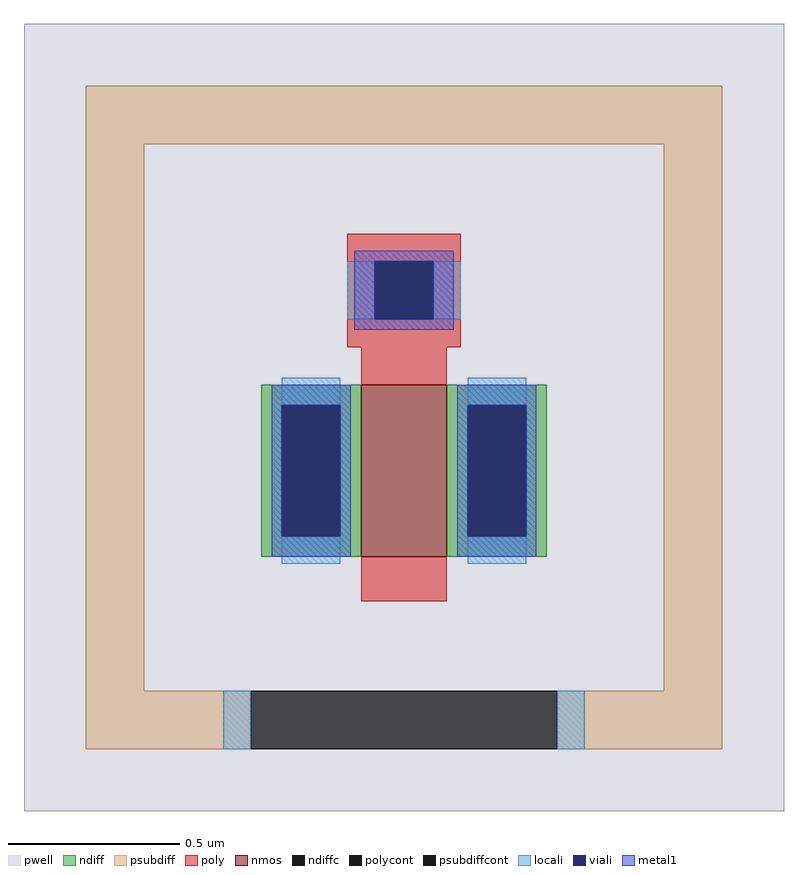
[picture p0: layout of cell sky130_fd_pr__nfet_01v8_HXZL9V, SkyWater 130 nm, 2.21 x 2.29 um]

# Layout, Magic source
magic
tech sky130A
magscale 1 2
<< pwell >>
rect -221 -229 221 229
<< nmos >>
rect -25 -81 25 19
<< ndiff >>
rect -83 7 -25 19
rect -83 -69 -71 7
rect -37 -69 -25 7
rect -83 -81 -25 -69
rect 25 7 83 19
rect 25 -69 37 7
rect 71 -69 83 7
rect 25 -81 83 -69
<< ndiffc >>
rect -71 -69 -37 7
rect 37 -69 71 7
<< psubdiff >>
rect -185 159 185 193
rect -185 -159 -151 159
rect 151 -159 185 159
rect -185 -193 -89 -159
rect 89 -193 185 -159
<< psubdiffcont >>
rect -89 -193 89 -159
<< poly >>
rect -33 91 33 107
rect -33 57 -17 91
rect 17 57 33 91
rect -33 41 33 57
rect -25 19 25 41
rect -25 -107 25 -81
<< polycont >>
rect -17 57 17 91
<< locali >>
rect -33 57 -17 91
rect 17 57 33 91
rect -71 7 -37 23
rect -71 -85 -37 -69
rect 37 7 71 23
rect 37 -85 71 -69
rect -105 -193 -89 -159
rect 89 -193 105 -159
<< viali >>
rect -17 57 17 91
rect -71 -69 -37 7
rect 37 -69 71 7
<< metal1 >>
rect -29 91 29 97
rect -29 57 -17 91
rect 17 57 29 91
rect -29 51 29 57
rect -77 7 -31 19
rect -77 -69 -71 7
rect -37 -69 -31 7
rect -77 -81 -31 -69
rect 31 7 77 19
rect 31 -69 37 7
rect 71 -69 77 7
rect 31 -81 77 -69
<< properties >>
string FIXED_BBOX -168 -176 168 176
string gencell sky130_fd_pr__nfet_01v8
string library sky130
string parameters w 0.5 l 0.25 m 1 nf 1 diffcov 100 polycov 100 guard 1 glc 0 grc 0 gtc 0 gbc 1 tbcov 100 rlcov 100 topc 1 botc 0 poverlap 0 doverlap 1 lmin 0.15 wmin 0.42 compatible {sky130_fd_pr__nfet_01v8 sky130_fd_pr__nfet_01v8_lvt  sky130_fd_bs_flash__special_sonosfet_star  sky130_fd_pr__nfet_g5v0d10v5 sky130_fd_pr__nfet_05v0_nvt  sky130_fd_pr__nfet_03v3_nvt} full_metal 0 viasrc 100 viadrn 100 viagate 100 viagb 0 viagr 0 viagl 0 viagt 0
<< end >>
